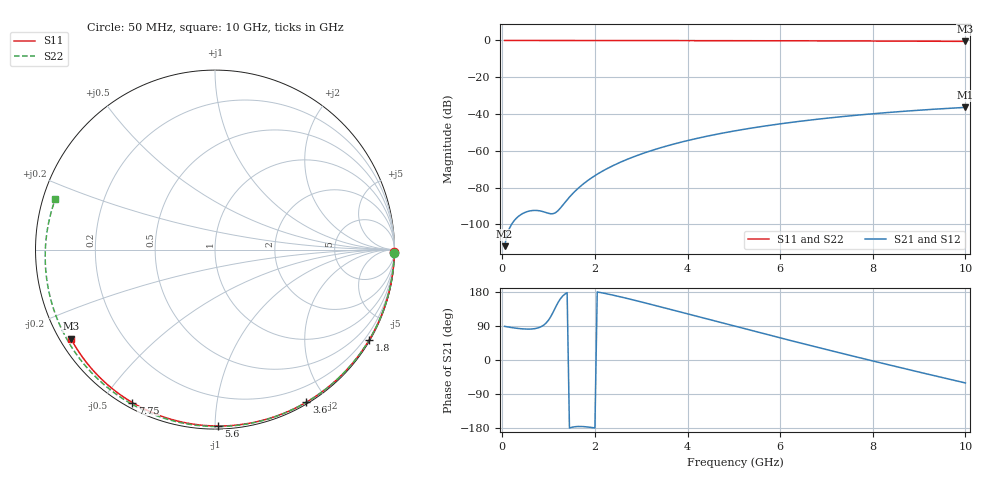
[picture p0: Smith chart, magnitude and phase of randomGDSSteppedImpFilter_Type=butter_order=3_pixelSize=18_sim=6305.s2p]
! freq	dB(S11)	phase(S11)	dB(S12)	phase(S12)
!  dB(S21)	phase(S21)	dB(S22)	phase(S22)
!S-par simulation data
#  GHz  S  DB  R 50
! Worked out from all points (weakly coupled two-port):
!   200 points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, 50 MHz to 10 GHz, reference 50 ohm
!   highest |S21| = -36.39 dB at 10 GHz (marker M1); lowest = -111.8 dB at 50 MHz (marker M2)
!   lowest |S11| = -0.5 dB at 10 GHz (marker M3), VSWR 34.54, Z = 1.56 - j14.2 ohm
!   |S11| at or under -10 dB: nowhere
!   |S22| runs from -0.6 to 0.0 dB; largest |S21 - S12| = 0
!   S11 on the Smith chart (normalised r, x): 50 MHz: open; 1.8 GHz: 0.03, -3.69; 3.6 GHz: 0.02, -1.76; 5.6 GHz: 0.02, -1.02; 7.75 GHz: 0.02, -0.60; 10 GHz: 0.03, -0.28
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0.05  -0.00 -0.8  -111.82 88.8  -111.82 88.8  -0.00 -1.1
0.45  -0.01 -7.7  -93.95 82.0  -93.95 82.0  -0.02 -10.4
0.8  -0.02 -13.6  -92.57 85.9  -92.57 85.9  -0.02 -18.6
1.2  -0.03 -20.3  -92.59 150.9  -92.59 150.9  -0.04 -27.7
1.65  -0.04 -27.8  -80.09 -175.5  -80.09 -175.5  -0.05 -37.8
1.75  -0.04 -29.5  -77.97 -175.7  -77.97 -175.7  -0.05 -40.1
1.8  -0.04 -30.3  -76.99 -176.2  -76.99 -176.2  -0.05 -41.2
2.1  -0.05 -35.2  -71.95 178.5  -71.95 178.5  -0.06 -47.8
2.5  -0.05 -41.7  -66.76 168.1  -66.76 168.1  -0.07 -56.4
2.9  -0.06 -48.2  -62.63 156.3  -62.63 156.3  -0.08 -64.9
3.4  -0.07 -56.0  -58.46 140.8  -58.46 140.8  -0.10 -75.2
3.6  -0.08 -59.1  -57.01 134.4  -57.01 134.4  -0.11 -79.3
4.3  -0.10 -69.8  -52.70 112.1  -52.70 112.1  -0.13 -93.1
5.05  -0.12 -80.9  -49.02 88.2  -49.02 88.2  -0.16 -107.4
5.6  -0.15 -88.9  -46.77 70.9  -46.77 70.9  -0.19 -117.6
6.15  -0.17 -96.6  -44.82 53.7  -44.82 53.7  -0.23 -127.5
6.7  -0.20 -104.2  -43.12 36.7  -43.12 36.7  -0.26 -137.3
7.25  -0.24 -111.7  -41.62 20.0  -41.62 20.0  -0.31 -147.1
7.75  -0.28 -118.4  -40.41 4.9  -40.41 4.9  -0.35 -156.0
8.35  -0.33 -126.4  -39.12 -12.9  -39.12 -12.9  -0.41 -166.7
9.2  -0.41 -137.7  -37.58 -37.7  -37.58 -37.7  -0.50 177.6
10  -0.50 -148.3  -36.39 -60.6  -36.39 -60.6  -0.60 162.3
